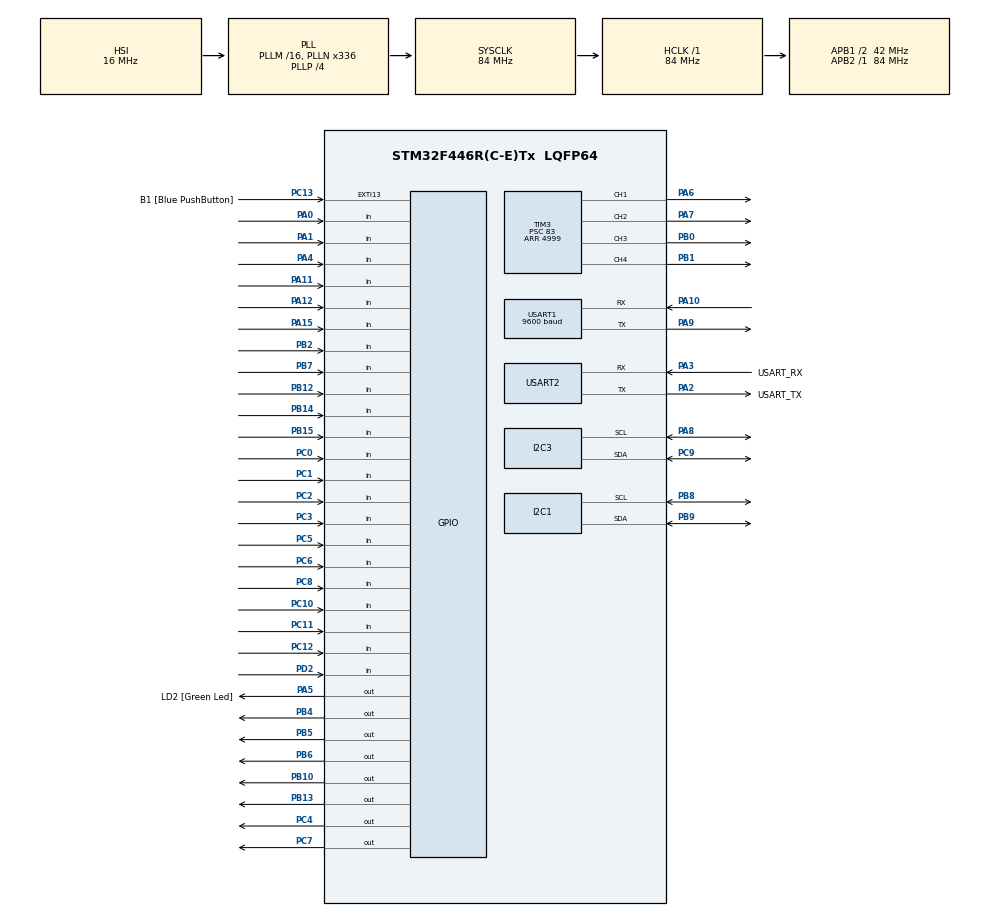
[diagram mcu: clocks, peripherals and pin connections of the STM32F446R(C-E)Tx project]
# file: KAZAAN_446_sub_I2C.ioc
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Dma.I2C1_RX.0.Direction=DMA_PERIPH_TO_MEMORY
Dma.I2C1_RX.0.FIFOMode=DMA_FIFOMODE_DISABLE
Dma.I2C1_RX.0.Instance=DMA1_Stream0
Dma.I2C1_RX.0.MemDataAlignment=DMA_MDATAALIGN_BYTE
Dma.I2C1_RX.0.MemInc=DMA_MINC_ENABLE
Dma.I2C1_RX.0.Mode=DMA_NORMAL
Dma.I2C1_RX.0.PeriphDataAlignment=DMA_PDATAALIGN_BYTE
Dma.I2C1_RX.0.PeriphInc=DMA_PINC_DISABLE
Dma.I2C1_RX.0.Priority=DMA_PRIORITY_LOW
Dma.I2C1_TX.1.Direction=DMA_MEMORY_TO_PERIPH
Dma.I2C1_TX.1.FIFOMode=DMA_FIFOMODE_DISABLE
Dma.I2C1_TX.1.Instance=DMA1_Stream7
Dma.I2C1_TX.1.MemDataAlignment=DMA_MDATAALIGN_BYTE
Dma.I2C1_TX.1.MemInc=DMA_MINC_ENABLE
Dma.I2C1_TX.1.Mode=DMA_NORMAL
Dma.I2C1_TX.1.PeriphDataAlignment=DMA_PDATAALIGN_BYTE
Dma.I2C1_TX.1.PeriphInc=DMA_PINC_DISABLE
Dma.I2C1_TX.1.Priority=DMA_PRIORITY_LOW
Dma.I2C3_RX.6.Direction=DMA_PERIPH_TO_MEMORY
Dma.I2C3_RX.6.FIFOMode=DMA_FIFOMODE_DISABLE
Dma.I2C3_RX.6.Instance=DMA1_Stream1
Dma.I2C3_RX.6.MemDataAlignment=DMA_MDATAALIGN_BYTE
Dma.I2C3_RX.6.MemInc=DMA_MINC_ENABLE
Dma.I2C3_RX.6.Mode=DMA_NORMAL
Dma.I2C3_RX.6.PeriphDataAlignment=DMA_PDATAALIGN_BYTE
Dma.I2C3_RX.6.PeriphInc=DMA_PINC_DISABLE
Dma.I2C3_RX.6.Priority=DMA_PRIORITY_LOW
Dma.I2C3_TX.7.Direction=DMA_MEMORY_TO_PERIPH
Dma.I2C3_TX.7.FIFOMode=DMA_FIFOMODE_DISABLE
Dma.I2C3_TX.7.Instance=DMA1_Stream4
Dma.I2C3_TX.7.MemDataAlignment=DMA_MDATAALIGN_BYTE
Dma.I2C3_TX.7.MemInc=DMA_MINC_ENABLE
Dma.I2C3_TX.7.Mode=DMA_NORMAL
Dma.I2C3_TX.7.PeriphDataAlignment=DMA_PDATAALIGN_BYTE
Dma.I2C3_TX.7.PeriphInc=DMA_PINC_DISABLE
Dma.I2C3_TX.7.Priority=DMA_PRIORITY_LOW
Dma.Request0=I2C1_RX
Dma.Request1=I2C1_TX
Dma.Request2=USART1_RX
Dma.Request3=USART1_TX
Dma.Request4=USART2_RX
Dma.Request5=USART2_TX
Dma.Request6=I2C3_RX
Dma.Request7=I2C3_TX
Dma.USART1_RX.2.Direction=DMA_PERIPH_TO_MEMORY
Dma.USART1_RX.2.FIFOMode=DMA_FIFOMODE_DISABLE
Dma.USART1_RX.2.Instance=DMA2_Stream2
Dma.USART1_RX.2.MemDataAlignment=DMA_MDATAALIGN_BYTE
Dma.USART1_RX.2.MemInc=DMA_MINC_ENABLE
Dma.USART1_RX.2.Mode=DMA_NORMAL
Dma.USART1_RX.2.PeriphDataAlignment=DMA_PDATAALIGN_BYTE
Dma.USART1_RX.2.PeriphInc=DMA_PINC_DISABLE
Dma.USART1_RX.2.Priority=DMA_PRIORITY_LOW
Dma.USART1_TX.3.Direction=DMA_MEMORY_TO_PERIPH
Dma.USART1_TX.3.FIFOMode=DMA_FIFOMODE_DISABLE
Dma.USART1_TX.3.Instance=DMA2_Stream7
Dma.USART1_TX.3.MemDataAlignment=DMA_MDATAALIGN_BYTE
Dma.USART1_TX.3.MemInc=DMA_MINC_ENABLE
Dma.USART1_TX.3.Mode=DMA_NORMAL
Dma.USART1_TX.3.PeriphDataAlignment=DMA_PDATAALIGN_BYTE
Dma.USART1_TX.3.PeriphInc=DMA_PINC_DISABLE
Dma.USART1_TX.3.Priority=DMA_PRIORITY_LOW
Dma.USART2_RX.4.Direction=DMA_PERIPH_TO_MEMORY
Dma.USART2_RX.4.FIFOMode=DMA_FIFOMODE_DISABLE
Dma.USART2_RX.4.Instance=DMA1_Stream5
Dma.USART2_RX.4.MemDataAlignment=DMA_MDATAALIGN_BYTE
Dma.USART2_RX.4.MemInc=DMA_MINC_ENABLE
Dma.USART2_RX.4.Mode=DMA_NORMAL
Dma.USART2_RX.4.PeriphDataAlignment=DMA_PDATAALIGN_BYTE
Dma.USART2_RX.4.PeriphInc=DMA_PINC_DISABLE
Dma.USART2_RX.4.Priority=DMA_PRIORITY_LOW
Dma.USART2_TX.5.Direction=DMA_MEMORY_TO_PERIPH
Dma.USART2_TX.5.FIFOMode=DMA_FIFOMODE_DISABLE
Dma.USART2_TX.5.Instance=DMA1_Stream6
Dma.USART2_TX.5.MemDataAlignment=DMA_MDATAALIGN_BYTE
Dma.USART2_TX.5.MemInc=DMA_MINC_ENABLE
Dma.USART2_TX.5.Mode=DMA_NORMAL
Dma.USART2_TX.5.PeriphDataAlignment=DMA_PDATAALIGN_BYTE
Dma.USART2_TX.5.PeriphInc=DMA_PINC_DISABLE
Dma.USART2_TX.5.Priority=DMA_PRIORITY_LOW
I2C1.OwnAddress=0x10
Mcu.Family=STM32F4
Mcu.Name=STM32F446R(C-E)Tx
Mcu.Package=LQFP64
NVIC.DMA1_Stream0_IRQn=true\:0\:0\:false\:false\:true\:false\:true
NVIC.DMA1_Stream1_IRQn=true\:0\:0\:false\:false\:true\:false\:true
NVIC.DMA1_Stream4_IRQn=true\:0\:0\:false\:false\:true\:false\:true
NVIC.DMA1_Stream5_IRQn=true\:0\:0\:false\:false\:true\:false\:true
NVIC.DMA1_Stream6_IRQn=true\:0\:0\:false\:false\:true\:false\:true
NVIC.DMA1_Stream7_IRQn=true\:0\:0\:false\:false\:true\:false\:true
NVIC.DMA2_Stream2_IRQn=true\:0\:0\:false\:false\:true\:false\:true
NVIC.DMA2_Stream7_IRQn=true\:0\:0\:false\:false\:true\:false\:true
NVIC.I2C1_ER_IRQn=true\:0\:0\:false\:false\:true\:true\:true
NVIC.I2C1_EV_IRQn=true\:0\:0\:false\:false\:true\:true\:true
NVIC.I2C3_ER_IRQn=true\:0\:0\:false\:false\:true\:true\:true
NVIC.I2C3_EV_IRQn=true\:0\:0\:false\:false\:true\:true\:true
NVIC.PriorityGroup=NVIC_PRIORITYGROUP_0
NVIC.USART1_IRQn=true\:0\:0\:false\:false\:true\:true\:true
NVIC.USART2_IRQn=true\:0\:0\:false\:false\:true\:true\:true
PA0-WKUP.GPIO_PuPd=GPIO_PULLUP
PA0-WKUP.Signal=GPIO_Input
PA1.GPIO_PuPd=GPIO_PULLUP
PA1.Signal=GPIO_Input
PA10.Mode=Asynchronous
PA10.Signal=USART1_RX
PA11.GPIO_PuPd=GPIO_PULLUP
PA11.Signal=GPIO_Input
PA12.GPIO_PuPd=GPIO_PULLUP
PA12.Signal=GPIO_Input
PA13.GPIO_Label=TMS
PA13.Mode=Serial_Wire
PA13.Signal=SYS_JTMS-SWDIO
PA14.GPIO_Label=TCK
PA14.Mode=Serial_Wire
PA14.Signal=SYS_JTCK-SWCLK
PA15.GPIO_PuPd=GPIO_PULLUP
PA15.Signal=GPIO_Input
PA2.GPIO_Label=USART_TX
PA2.Mode=Asynchronous
PA2.Signal=USART2_TX
PA3.GPIO_Label=USART_RX
PA3.Mode=Asynchronous
PA3.Signal=USART2_RX
PA4.GPIO_PuPd=GPIO_PULLUP
PA4.Signal=GPIO_Input
PA5.GPIO_Label=LD2 [Green Led]
PA5.Signal=GPIO_Output
PA6.Signal=S_TIM3_CH1
PA7.Signal=S_TIM3_CH2
PA8.Mode=I2C
PA8.Signal=I2C3_SCL
PA9.Mode=Asynchronous
PA9.Signal=USART1_TX
PB0.Signal=S_TIM3_CH3
PB1.Signal=S_TIM3_CH4
PB10.Signal=GPIO_Output
PB12.GPIO_PuPd=GPIO_PULLUP
PB12.Signal=GPIO_Input
PB13.Signal=GPIO_Output
PB14.GPIO_PuPd=GPIO_PULLUP
PB14.Signal=GPIO_Input
PB15.GPIO_PuPd=GPIO_PULLUP
PB15.Signal=GPIO_Input
PB2.GPIO_PuPd=GPIO_PULLUP
PB2.Signal=GPIO_Input
PB3.GPIO_Label=SWO
PB3.Signal=SYS_JTDO-SWO
PB4.Signal=GPIO_Output
PB5.Signal=GPIO_Output
PB6.Signal=GPIO_Output
PB7.GPIO_PuPd=GPIO_PULLUP
PB7.Signal=GPIO_Input
PB8.GPIO_Pu=GPIO_NOPULL
PB8.Mode=I2C
PB8.Signal=I2C1_SCL
PB9.GPIO_Pu=GPIO_NOPULL
PB9.Mode=I2C
PB9.Signal=I2C1_SDA
PC0.GPIO_PuPd=GPIO_PULLUP
PC0.Signal=GPIO_Input
PC1.GPIO_PuPd=GPIO_PULLUP
PC1.Signal=GPIO_Input
PC10.GPIO_PuPd=GPIO_PULLUP
PC10.Signal=GPIO_Input
PC11.GPIO_PuPd=GPIO_PULLUP
PC11.Signal=GPIO_Input
PC12.GPIO_PuPd=GPIO_PULLUP
PC12.Signal=GPIO_Input
PC13.GPIO_Label=B1 [Blue PushButton]
PC13.GPIO_ModeDefaultEXTI=GPIO_MODE_IT_FALLING
PC13.Signal=GPXTI13
PC14-OSC32_IN.Mode=LSE-External-Oscillator
PC14-OSC32_IN.Signal=RCC_OSC32_IN
PC15-OSC32_OUT.Mode=LSE-External-Oscillator
PC15-OSC32_OUT.Signal=RCC_OSC32_OUT
PC2.GPIO_PuPd=GPIO_PULLUP
PC2.Signal=GPIO_Input
PC3.GPIO_PuPd=GPIO_PULLUP
PC3.Signal=GPIO_Input
PC4.Signal=GPIO_Output
PC5.GPIO_PuPd=GPIO_PULLUP
PC5.Signal=GPIO_Input
PC6.GPIO_PuPd=GPIO_PULLUP
PC6.Signal=GPIO_Input
PC7.Signal=GPIO_Output
PC8.GPIO_PuPd=GPIO_PULLUP
PC8.Signal=GPIO_Input
PC9.Mode=I2C
PC9.Signal=I2C3_SDA
PD2.GPIO_PuPd=GPIO_PULLUP
PD2.Signal=GPIO_Input
PH0-OSC_IN.Mode=HSE-External-Oscillator
PH0-OSC_IN.Signal=RCC_OSC_IN
PH1-OSC_OUT.Mode=HSE-External-Oscillator
PH1-OSC_OUT.Signal=RCC_OSC_OUT
ProjectManager.HeapSize=0x200
ProjectManager.StackSize=0x400
ProjectManager.TargetToolchain=STM32CubeIDE
RCC.48MHZClocksFreq_Value=84000000
RCC.AHBFreq_Value=84000000
RCC.APB1CLKDivider=RCC_HCLK_DIV2
RCC.APB1Freq_Value=42000000
RCC.APB1TimFreq_Value=84000000
RCC.APB2Freq_Value=84000000
RCC.APB2TimFreq_Value=84000000
RCC.CortexFreq_Value=84000000
RCC.FLatency-AdvancedSettings=FLASH_LATENCY_2
RCC.HCLKFreq_Value=84000000
RCC.HSE_VALUE=8000000
RCC.HSI_VALUE=16000000
RCC.PLLN=336
RCC.PLLP=RCC_PLLP_DIV4
RCC.SYSCLKFreq_VALUE=84000000
RCC.SYSCLKSource=RCC_SYSCLKSOURCE_PLLCLK
RCC.USBFreq_Value=168000000
RCC.VCOOutputFreq_Value=336000000
SH.S_TIM3_CH1.0=TIM3_CH1,PWM Generation1 CH1
SH.S_TIM3_CH2.0=TIM3_CH2,PWM Generation2 CH2
SH.S_TIM3_CH3.0=TIM3_CH3,PWM Generation3 CH3
SH.S_TIM3_CH4.0=TIM3_CH4,PWM Generation4 CH4
TIM3.Channel-PWM\ Generation1\ CH1=TIM_CHANNEL_1
TIM3.Channel-PWM\ Generation2\ CH2=TIM_CHANNEL_2
TIM3.Channel-PWM\ Generation3\ CH3=TIM_CHANNEL_3
TIM3.Channel-PWM\ Generation4\ CH4=TIM_CHANNEL_4
TIM3.Period=4999
TIM3.Prescaler=83
USART1.BaudRate=9600
USART1.VirtualMode=VM_ASYNC
USART2.VirtualMode=VM_ASYNC
VP_TIM3_VS_ClockSourceINT.Mode=Internal
board=NUCLEO-F446RE

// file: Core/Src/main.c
/* USER CODE BEGIN Header */
/**
  ******************************************************************************
  * @file           : main.c
  * @brief          : Main program body
  ******************************************************************************
  * @attention
  *
  * <h2><center>&copy; Copyright (c) 2023 STMicroelectronics.
  * All rights reserved.</center></h2>
  *
  * This software component is licensed by ST under BSD 3-Clause license,
  * the "License"; You may not use this file except in compliance with the
  * License. You may obtain a copy of the License at:
  *                        opensource.org/licenses/BSD-3-Clause
  *
  ******************************************************************************
  */
/* USER CODE END Header */
#include "main.h"

/* USER CODE BEGIN Includes */
#include <../../Drivers/Message/Inc/message.h>
/* USER CODE END Includes */

I2C_HandleTypeDef hi2c1;
I2C_HandleTypeDef hi2c3;
DMA_HandleTypeDef hdma_i2c1_rx;
DMA_HandleTypeDef hdma_i2c1_tx;
DMA_HandleTypeDef hdma_i2c3_rx;
DMA_HandleTypeDef hdma_i2c3_tx;

TIM_HandleTypeDef htim3;

UART_HandleTypeDef huart1;
UART_HandleTypeDef huart2;
DMA_HandleTypeDef hdma_usart1_rx;
DMA_HandleTypeDef hdma_usart1_tx;
DMA_HandleTypeDef hdma_usart2_rx;
DMA_HandleTypeDef hdma_usart2_tx;

/* USER CODE BEGIN PV */
volatile uint32_t G_System_counter = 0;
/* USER CODE END PV */

void SystemClock_Config(void);
static void MX_GPIO_Init(void);
static void MX_DMA_Init(void);
static void MX_USART1_UART_Init(void);
static void MX_USART2_UART_Init(void);
static void MX_I2C1_Init(void);
static void MX_TIM3_Init(void);
static void MX_I2C3_Init(void);

int main(void)
{

  /* MCU Configuration--------------------------------------------------------*/

  /* Reset of all peripherals, Initializes the Flash interface and the Systick. */
  HAL_Init();

  /* Configure the system clock */
  SystemClock_Config();

  /* Initialize all configured peripherals */
  MX_GPIO_Init();
  MX_DMA_Init();
  MX_USART1_UART_Init();
  MX_USART2_UART_Init();
  MX_I2C1_Init();
  MX_TIM3_Init();
  MX_I2C3_Init();
  /* USER CODE BEGIN 2 */
  HAL_TIM_PWM_Start(&htim3, TIM_CHANNEL_1);
  HAL_TIM_PWM_Start(&htim3, TIM_CHANNEL_2);
  HAL_TIM_PWM_Start(&htim3, TIM_CHANNEL_4);
  /* USER CODE END 2 */

  /* Infinite loop */
  /* USER CODE BEGIN WHILE */
  while (1)
  {
	  if(HAL_GPIO_ReadPin(GPIOC,GPIO_PIN_9) == 1){
		  //HAL_GPIO_WritePin(GPIOA,GPIO_PIN_5,GPIO_PIN_SET);
	  }else if(HAL_GPIO_ReadPin(GPIOC,GPIO_PIN_9) == 0){
		  //HAL_GPIO_WritePin(GPIOA,GPIO_PIN_5,GPIO_PIN_RESET);
	  }
	  if(HAL_GPIO_ReadPin(GPIOC,GPIO_PIN_13) == 0){
		  __HAL_TIM_SET_COMPARE(&htim3, TIM_CHANNEL_4, 50);
		  //__HAL_TIM_SET_COMPARE(&htim3, TIM_CHANNEL_2, 500);
		  HAL_GPIO_WritePin(GPIOC,GPIO_PIN_5,GPIO_PIN_SET);
		  HAL_GPIO_WritePin(GPIOC,GPIO_PIN_6,GPIO_PIN_SET);
		  HAL_GPIO_WritePin(GPIOA,GPIO_PIN_5,GPIO_PIN_SET);
		  D_Mess_printf("%d\n", G_System_counter);
		  D_Mess_flush();
	  }else if(HAL_GPIO_ReadPin(GPIOC,GPIO_PIN_13) == 1){
		  __HAL_TIM_SET_COMPARE(&htim3, TIM_CHANNEL_4, 2500);
		  //__HAL_TIM_SET_COMPARE(&htim3, TIM_CHANNEL_2, 100);
		  HAL_GPIO_WritePin(GPIOC,GPIO_PIN_5,GPIO_PIN_RESET);
		  HAL_GPIO_WritePin(GPIOC,GPIO_PIN_6,GPIO_PIN_RESET);
		  HAL_GPIO_WritePin(GPIOA,GPIO_PIN_5,GPIO_PIN_RESET);
//		  D_Mess_printf("tes2");
//		  D_Mess_flush();
	  }
    /* USER CODE END WHILE */

  }
}

void SystemClock_Config(void)
{
  RCC_OscInitTypeDef RCC_OscInitStruct = {0};
  RCC_ClkInitTypeDef RCC_ClkInitStruct = {0};

  /** Configure the main internal regulator output voltage
  */
  __HAL_RCC_PWR_CLK_ENABLE();
  __HAL_PWR_VOLTAGESCALING_CONFIG(PWR_REGULATOR_VOLTAGE_SCALE3);
  /** Initializes the RCC Oscillators according to the specified parameters
  * in the RCC_OscInitTypeDef structure.
  */
  RCC_OscInitStruct.OscillatorType = RCC_OSCILLATORTYPE_HSI;
  RCC_OscInitStruct.HSIState = RCC_HSI_ON;
  RCC_OscInitStruct.HSICalibrationValue = RCC_HSICALIBRATION_DEFAULT;
  RCC_OscInitStruct.PLL.PLLState = RCC_PLL_ON;
  RCC_OscInitStruct.PLL.PLLSource = RCC_PLLSOURCE_HSI;
  RCC_OscInitStruct.PLL.PLLM = 16;
  RCC_OscInitStruct.PLL.PLLN = 336;
  RCC_OscInitStruct.PLL.PLLP = RCC_PLLP_DIV4;
  RCC_OscInitStruct.PLL.PLLQ = 2;
  RCC_OscInitStruct.PLL.PLLR = 2;
  if (HAL_RCC_OscConfig(&RCC_OscInitStruct) != HAL_OK)
  {
    Error_Handler();
  }
  /** Initializes the CPU, AHB and APB buses clocks
  */
  RCC_ClkInitStruct.ClockType = RCC_CLOCKTYPE_HCLK|RCC_CLOCKTYPE_SYSCLK
                              |RCC_CLOCKTYPE_PCLK1|RCC_CLOCKTYPE_PCLK2;
  RCC_ClkInitStruct.SYSCLKSource = RCC_SYSCLKSOURCE_PLLCLK;
  RCC_ClkInitStruct.AHBCLKDivider = RCC_SYSCLK_DIV1;
  RCC_ClkInitStruct.APB1CLKDivider = RCC_HCLK_DIV2;
  RCC_ClkInitStruct.APB2CLKDivider = RCC_HCLK_DIV1;

  if (HAL_RCC_ClockConfig(&RCC_ClkInitStruct, FLASH_LATENCY_2) != HAL_OK)
  {
    Error_Handler();
  }
}

static void MX_I2C1_Init(void)
{

  hi2c1.Instance = I2C1;
  hi2c1.Init.ClockSpeed = 100000;
  hi2c1.Init.DutyCycle = I2C_DUTYCYCLE_2;
  hi2c1.Init.OwnAddress1 = 32;
  hi2c1.Init.AddressingMode = I2C_ADDRESSINGMODE_7BIT;
  hi2c1.Init.DualAddressMode = I2C_DUALADDRESS_DISABLE;
  hi2c1.Init.OwnAddress2 = 0;
  hi2c1.Init.GeneralCallMode = I2C_GENERALCALL_DISABLE;
  hi2c1.Init.NoStretchMode = I2C_NOSTRETCH_DISABLE;
  if (HAL_I2C_Init(&hi2c1) != HAL_OK)
  {
    Error_Handler();
  }

}

static void MX_I2C3_Init(void)
{

  hi2c3.Instance = I2C3;
  hi2c3.Init.ClockSpeed = 100000;
  hi2c3.Init.DutyCycle = I2C_DUTYCYCLE_2;
  hi2c3.Init.OwnAddress1 = 0;
  hi2c3.Init.AddressingMode = I2C_ADDRESSINGMODE_7BIT;
  hi2c3.Init.DualAddressMode = I2C_DUALADDRESS_DISABLE;
  hi2c3.Init.OwnAddress2 = 0;
  hi2c3.Init.GeneralCallMode = I2C_GENERALCALL_DISABLE;
  hi2c3.Init.NoStretchMode = I2C_NOSTRETCH_DISABLE;
  if (HAL_I2C_Init(&hi2c3) != HAL_OK)
  {
    Error_Handler();
  }

}

static void MX_TIM3_Init(void)
{

  TIM_ClockConfigTypeDef sClockSourceConfig = {0};
  TIM_MasterConfigTypeDef sMasterConfig = {0};
  TIM_OC_InitTypeDef sConfigOC = {0};

  htim3.Instance = TIM3;
  htim3.Init.Prescaler = 83;
  htim3.Init.CounterMode = TIM_COUNTERMODE_UP;
  htim3.Init.Period = 4999;
  htim3.Init.ClockDivision = TIM_CLOCKDIVISION_DIV1;
  htim3.Init.AutoReloadPreload = TIM_AUTORELOAD_PRELOAD_DISABLE;
  if (HAL_TIM_Base_Init(&htim3) != HAL_OK)
  {
    Error_Handler();
  }
  sClockSourceConfig.ClockSource = TIM_CLOCKSOURCE_INTERNAL;
  if (HAL_TIM_ConfigClockSource(&htim3, &sClockSourceConfig) != HAL_OK)
  {
    Error_Handler();
  }
  if (HAL_TIM_PWM_Init(&htim3) != HAL_OK)
  {
    Error_Handler();
  }
  sMasterConfig.MasterOutputTrigger = TIM_TRGO_RESET;
  sMasterConfig.MasterSlaveMode = TIM_MASTERSLAVEMODE_DISABLE;
  if (HAL_TIMEx_MasterConfigSynchronization(&htim3, &sMasterConfig) != HAL_OK)
  {
    Error_Handler();
  }
  sConfigOC.OCMode = TIM_OCMODE_PWM1;
  sConfigOC.Pulse = 0;
  sConfigOC.OCPolarity = TIM_OCPOLARITY_HIGH;
  sConfigOC.OCFastMode = TIM_OCFAST_DISABLE;
  if (HAL_TIM_PWM_ConfigChannel(&htim3, &sConfigOC, TIM_CHANNEL_1) != HAL_OK)
  {
    Error_Handler();
  }
  if (HAL_TIM_PWM_ConfigChannel(&htim3, &sConfigOC, TIM_CHANNEL_2) != HAL_OK)
  {
    Error_Handler();
  }
  if (HAL_TIM_PWM_ConfigChannel(&htim3, &sConfigOC, TIM_CHANNEL_3) != HAL_OK)
  {
    Error_Handler();
  }
  if (HAL_TIM_PWM_ConfigChannel(&htim3, &sConfigOC, TIM_CHANNEL_4) != HAL_OK)
  {
    Error_Handler();
  }
  HAL_TIM_MspPostInit(&htim3);

}

static void MX_USART1_UART_Init(void)
{

  huart1.Instance = USART1;
  huart1.Init.BaudRate = 9600;
  huart1.Init.WordLength = UART_WORDLENGTH_8B;
  huart1.Init.StopBits = UART_STOPBITS_1;
  huart1.Init.Parity = UART_PARITY_NONE;
  huart1.Init.Mode = UART_MODE_TX_RX;
  huart1.Init.HwFlowCtl = UART_HWCONTROL_NONE;
  huart1.Init.OverSampling = UART_OVERSAMPLING_16;
  if (HAL_UART_Init(&huart1) != HAL_OK)
  {
    Error_Handler();
  }

}

static void MX_USART2_UART_Init(void)
{

  huart2.Instance = USART2;
  huart2.Init.BaudRate = 115200;
  huart2.Init.WordLength = UART_WORDLENGTH_8B;
  huart2.Init.StopBits = UART_STOPBITS_1;
  huart2.Init.Parity = UART_PARITY_NONE;
  huart2.Init.Mode = UART_MODE_TX_RX;
  huart2.Init.HwFlowCtl = UART_HWCONTROL_NONE;
  huart2.Init.OverSampling = UART_OVERSAMPLING_16;
  if (HAL_UART_Init(&huart2) != HAL_OK)
  {
    Error_Handler();
  }

}

static void MX_DMA_Init(void)
{

  /* DMA controller clock enable */
  __HAL_RCC_DMA1_CLK_ENABLE();
  __HAL_RCC_DMA2_CLK_ENABLE();

  /* DMA interrupt init */
  /* DMA1_Stream0_IRQn interrupt configuration */
  HAL_NVIC_SetPriority(DMA1_Stream0_IRQn, 0, 0);
  HAL_NVIC_EnableIRQ(DMA1_Stream0_IRQn);
  /* DMA1_Stream1_IRQn interrupt configuration */
  HAL_NVIC_SetPriority(DMA1_Stream1_IRQn, 0, 0);
  HAL_NVIC_EnableIRQ(DMA1_Stream1_IRQn);
  /* DMA1_Stream4_IRQn interrupt configuration */
  HAL_NVIC_SetPriority(DMA1_Stream4_IRQn, 0, 0);
  HAL_NVIC_EnableIRQ(DMA1_Stream4_IRQn);
  /* DMA1_Stream5_IRQn interrupt configuration */
  HAL_NVIC_SetPriority(DMA1_Stream5_IRQn, 0, 0);
  HAL_NVIC_EnableIRQ(DMA1_Stream5_IRQn);
  /* DMA1_Stream6_IRQn interrupt configuration */
  HAL_NVIC_SetPriority(DMA1_Stream6_IRQn, 0, 0);
  HAL_NVIC_EnableIRQ(DMA1_Stream6_IRQn);
  /* DMA1_Stream7_IRQn interrupt configuration */
  HAL_NVIC_SetPriority(DMA1_Stream7_IRQn, 0, 0);
  HAL_NVIC_EnableIRQ(DMA1_Stream7_IRQn);
  /* DMA2_Stream2_IRQn interrupt configuration */
  HAL_NVIC_SetPriority(DMA2_Stream2_IRQn, 0, 0);
  HAL_NVIC_EnableIRQ(DMA2_Stream2_IRQn);
  /* DMA2_Stream7_IRQn interrupt configuration */
  HAL_NVIC_SetPriority(DMA2_Stream7_IRQn, 0, 0);
  HAL_NVIC_EnableIRQ(DMA2_Stream7_IRQn);

}

static void MX_GPIO_Init(void)
{
  GPIO_InitTypeDef GPIO_InitStruct = {0};

  /* GPIO Ports Clock Enable */
  __HAL_RCC_GPIOC_CLK_ENABLE();
  __HAL_RCC_GPIOH_CLK_ENABLE();
  __HAL_RCC_GPIOA_CLK_ENABLE();
  __HAL_RCC_GPIOB_CLK_ENABLE();
  __HAL_RCC_GPIOD_CLK_ENABLE();

  /*Configure GPIO pin Output Level */
  HAL_GPIO_WritePin(LD2_GPIO_Port, LD2_Pin, GPIO_PIN_RESET);

  /*Configure GPIO pin Output Level */
  HAL_GPIO_WritePin(GPIOC, GPIO_PIN_4|GPIO_PIN_7, GPIO_PIN_RESET);

  /*Configure GPIO pin Output Level */
  HAL_GPIO_WritePin(GPIOB, GPIO_PIN_10|GPIO_PIN_13|GPIO_PIN_4|GPIO_PIN_5
                          |GPIO_PIN_6, GPIO_PIN_RESET);

  /*Configure GPIO pin : B1_Pin */
  GPIO_InitStruct.Pin = B1_Pin;
  GPIO_InitStruct.Mode = GPIO_MODE_IT_FALLING;
  GPIO_InitStruct.Pull = GPIO_NOPULL;
  HAL_GPIO_Init(B1_GPIO_Port, &GPIO_InitStruct);

  /*Configure GPIO pins : PC0 PC1 PC2 PC3
                           PC5 PC6 PC8 PC10
                           PC11 PC12 */
  GPIO_InitStruct.Pin = GPIO_PIN_0|GPIO_PIN_1|GPIO_PIN_2|GPIO_PIN_3
                          |GPIO_PIN_5|GPIO_PIN_6|GPIO_PIN_8|GPIO_PIN_10
                          |GPIO_PIN_11|GPIO_PIN_12;
  GPIO_InitStruct.Mode = GPIO_MODE_INPUT;
  GPIO_InitStruct.Pull = GPIO_PULLUP;
  HAL_GPIO_Init(GPIOC, &GPIO_InitStruct);

  /*Configure GPIO pins : PA0 PA1 PA4 PA11
                           PA12 PA15 */
  GPIO_InitStruct.Pin = GPIO_PIN_0|GPIO_PIN_1|GPIO_PIN_4|GPIO_PIN_11
                          |GPIO_PIN_12|GPIO_PIN_15;
  GPIO_InitStruct.Mode = GPIO_MODE_INPUT;
  GPIO_InitStruct.Pull = GPIO_PULLUP;
  HAL_GPIO_Init(GPIOA, &GPIO_InitStruct);

  /*Configure GPIO pin : LD2_Pin */
  GPIO_InitStruct.Pin = LD2_Pin;
  GPIO_InitStruct.Mode = GPIO_MODE_OUTPUT_PP;
  GPIO_InitStruct.Pull = GPIO_NOPULL;
  GPIO_InitStruct.Speed = GPIO_SPEED_FREQ_LOW;
  HAL_GPIO_Init(LD2_GPIO_Port, &GPIO_InitStruct);

  /*Configure GPIO pins : PC4 PC7 */
  GPIO_InitStruct.Pin = GPIO_PIN_4|GPIO_PIN_7;
  GPIO_InitStruct.Mode = GPIO_MODE_OUTPUT_PP;
  GPIO_InitStruct.Pull = GPIO_NOPULL;
  GPIO_InitStruct.Speed = GPIO_SPEED_FREQ_LOW;
  HAL_GPIO_Init(GPIOC, &GPIO_InitStruct);

  /*Configure GPIO pins : PB2 PB12 PB14 PB15
                           PB7 */
  GPIO_InitStruct.Pin = GPIO_PIN_2|GPIO_PIN_12|GPIO_PIN_14|GPIO_PIN_15
                          |GPIO_PIN_7;
  GPIO_InitStruct.Mode = GPIO_MODE_INPUT;
  GPIO_InitStruct.Pull = GPIO_PULLUP;
  HAL_GPIO_Init(GPIOB, &GPIO_InitStruct);

  /*Configure GPIO pins : PB10 PB13 PB4 PB5
                           PB6 */
  GPIO_InitStruct.Pin = GPIO_PIN_10|GPIO_PIN_13|GPIO_PIN_4|GPIO_PIN_5
                          |GPIO_PIN_6;
  GPIO_InitStruct.Mode = GPIO_MODE_OUTPUT_PP;
  GPIO_InitStruct.Pull = GPIO_NOPULL;
  GPIO_InitStruct.Speed = GPIO_SPEED_FREQ_LOW;
  HAL_GPIO_Init(GPIOB, &GPIO_InitStruct);

  /*Configure GPIO pin : PD2 */
  GPIO_InitStruct.Pin = GPIO_PIN_2;
  GPIO_InitStruct.Mode = GPIO_MODE_INPUT;
  GPIO_InitStruct.Pull = GPIO_PULLUP;
  HAL_GPIO_Init(GPIOD, &GPIO_InitStruct);

}

/* USER CODE BEGIN 4 */
void HAL_UART_TxCpltCallback(UART_HandleTypeDef *UartHandle){
  UNUSED(UartHandle);
  if(UartHandle->Instance == USART2){
	  D_Mess_TransitionCompletedCallBack();
  }
}
/* USER CODE END 4 */

void Error_Handler(void)
{
  __disable_irq();
  while (1)
  {
  }
}

/************************ (C) COPYRIGHT STMicroelectronics *****END OF FILE****/
